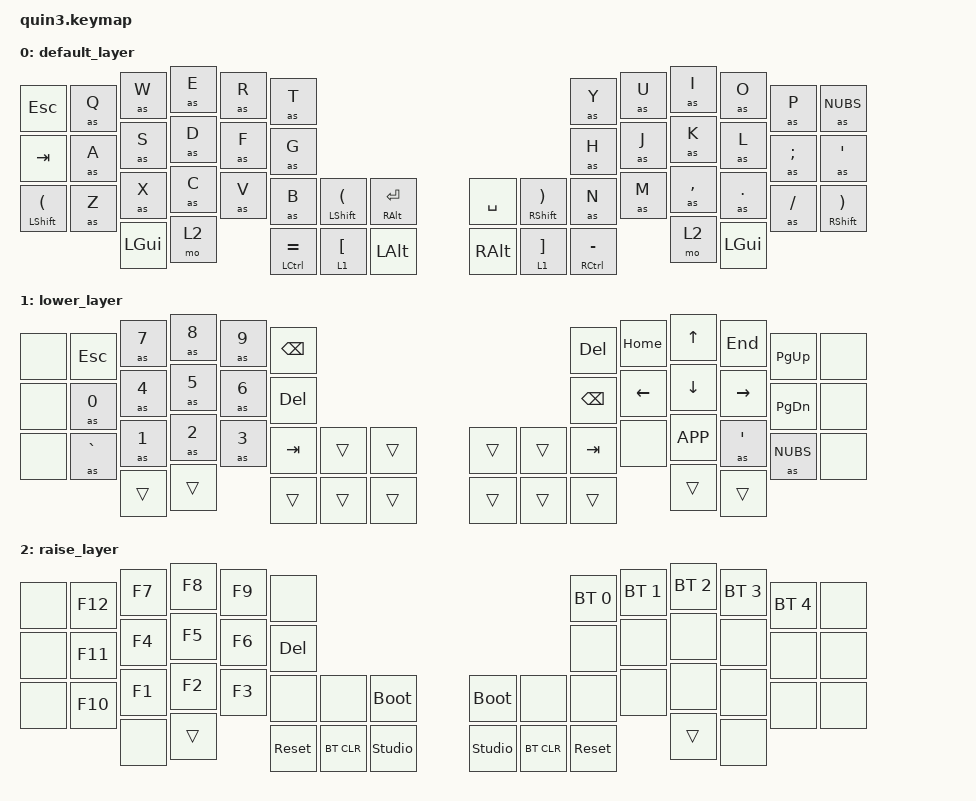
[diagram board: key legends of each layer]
/*
 * Copyright (c) 2020 The ZMK Contributors
 *
 * SPDX-License-Identifier: MIT
 */

#include <behaviors.dtsi>
#include <dt-bindings/zmk/keys.h>
#include <dt-bindings/zmk/bt.h>

#define DEFAULT 0
#define LWR 1
#define RSE 2

/ {

    behaviors {
        as_ht: autoshift_hold_tap {
            compatible = "zmk,behavior-hold-tap";
            label = "AUTOSHIFT_HOLD_TAP";
            #binding-cells = <2>;
            tapping-term-ms = <200>;
            bindings = <&shifted>, <&kp>;
        };
    };

    macros {
        shifted: macro_shifted_kp {
            #binding-cells = <1>;
            label = "MACRO_SHIFTED_KP";
            compatible = "zmk,behavior-macro-one-param";
            bindings =
              <&macro_press &kp LSHFT>,
              <&macro_param_1to1 &macro_tap &kp MACRO_PLACEHOLDER>,
              <&macro_release &kp LSHFT>;
        };

        as: autoshift {
            compatible = "zmk,behavior-macro-one-param";
            #binding-cells = <1>;
            label = "AUTOSHIFT_KP";
            bindings =
              <&macro_press>,
              <&macro_param_1to1>,
              <&macro_param_1to2>,
              <&as_ht MACRO_PLACEHOLDER MACRO_PLACEHOLDER>,
              <&macro_pause_for_release>,
              <&macro_release>,
              <&macro_param_1to1>,
              <&macro_param_1to2>,
              <&as_ht MACRO_PLACEHOLDER MACRO_PLACEHOLDER>;
        };
    };

    combos {
        compatible = "zmk,combos";

        esc {
            bindings = <&kp ESC>;
            key-positions = <0 1>;
        };

        space {
            bindings = <&kp SPACE>;
            key-positions = <11 12>;
        };

        tab {
            bindings = <&kp TAB>;
            key-positions = <10 11>;
        };

        enter {
            bindings = <&kp ENTER>;
            key-positions = <17 18>;
        };
    };

    keymap {
        compatible = "zmk,keymap";

        default_layer {
// ------------------------------------------------------------------------------------------------------------
// |   ESC   | Q |  W |  E  | R |    T   |                                    |    Y    | U |  I  |  O | P |
// |   TAB   | A |  S |  D  | F |    G   |                                    |    H    | J |  K  |  L | ; |
// |SHFT LPAR| Z |  X |  C  | V |    B   |SHFT LPAR|RALT ENT|  |SPC |SHFT RPAR|    N    | M |  ,  |  . | / |
//               |LGUI|RAISE|   |CTRL EQL|LOW  LBKT|LALT    |  |RALT|LOW  RBKT|CTRL MINS|   |RAISE|LGUI|
            bindings = <
&kp ESC         &as Q  &as W     &as E  &as R  &as T                                                                       &as Y            &as U  &as I      &as O    &as P     &as NUBS
&kp TAB         &as A  &as S     &as D  &as F  &as G                                                                       &as H            &as J  &as K      &as L    &as SEMI  &as SQT
&mt LSHFT LPAR  &as Z  &as X     &as C  &as V  &as B            &mt LSHFT LPAR  &mt RALT RET    &kp SPACE  &mt RSHFT RPAR  &as N            &as M  &as COMMA  &as DOT  &as FSLH  &mt RSHFT RPAR
                       &kp LGUI  &mo 2         &mt LCTRL EQUAL  &lt 1 LBKT      &kp LALT        &kp RALT   &lt 1 RBKT      &mt RCTRL MINUS         &mo 2      &kp LGUI
            >;
        };

        lower_layer {
// -----------------------------------------------------------------------------------------------------------
// |   |ESC|  7 |  8  | 9 |BSPC    |                                    | DEL     |HOME| UP  | END |PG_UP|   |
// |   | 0 |  4 |  5  | 6 | DEL    |                                    | BSPC    |LEFT|DOWN |RIGHT|PG_DN|   |
// |   | ` |  1 |  2  | 3 | TAB    |SHFT LPAR|RALT ENT|  |SPC |SHFT RPAR| TAB     |    | MEN |  '  |  \  |   |
//         |LGUI|RAISE|   |CTRL EQL|LOW  LBKT|LALT    |  |RALT|LOW  RBKT|CTRL MINS|    |RAISE|LGUI ]|
            bindings = <
&none  &kp ESC    &as N7  &as N8  &as N9  &kp BSPC                                    &kp DEL   &kp HOME  &kp UP     &kp END    &kp PG_UP  &none
&none  &as N0     &as N4  &as N5  &as N6  &kp DEL                                     &kp BSPC  &kp LEFT  &kp DOWN   &kp RIGHT  &kp PG_DN  &none
&none  &as GRAVE  &as N1  &as N2  &as N3  &kp TAB   &trans  &trans    &trans  &trans  &kp TAB   &none     &kp K_APP  &as SQT    &as NUBS   &none
                  &trans  &trans          &trans    &trans  &trans    &trans  &trans  &trans              &trans     &trans
            >;
        };

        raise_layer {
// ---------------------------------------------------------------------------------------------------------
// |   |F12| F7 | F8  | F9 |        |                                    | BT0     |BT1| BT2 |BT3 |BT4 |   |
// |   |F11| F4 | F5  | F6 |  DEL   |                                    | BTCLR   |   |     |    |BLDR|   |
// |   |F10| F1 | F1  | F3 |        |SHFT LPAR|RALT ENT|  |SPC |SHFT RPAR| RST     |OUT|     |    |STU |   |
//     |LGUI|RAISE|    |CTRL EQL|LOW  LBKT|LALT    |  |RALT|LOW  RBKT|CTRL MINS|   |RAISE|LGUI|
            bindings = <
&none  &kp F12  &kp F7  &kp F8  &kp F9  &none                                                                  &bt BT_SEL 0  &bt BT_SEL 1  &bt BT_SEL 2  &bt BT_SEL 3  &bt BT_SEL 4  &none
&none  &kp F11  &kp F4  &kp F5  &kp F6  &kp DEL                                                                &none         &none         &none         &none         &none         &none
&none  &kp F10  &kp F1  &kp F2  &kp F3  &none       &none       &bootloader        &bootloader     &none       &none         &none         &none         &none         &none         &none
                &none   &trans          &sys_reset  &bt BT_CLR  &studio_unlock     &studio_unlock  &bt BT_CLR  &sys_reset                  &trans        &none
            >;
        };
    };
};
